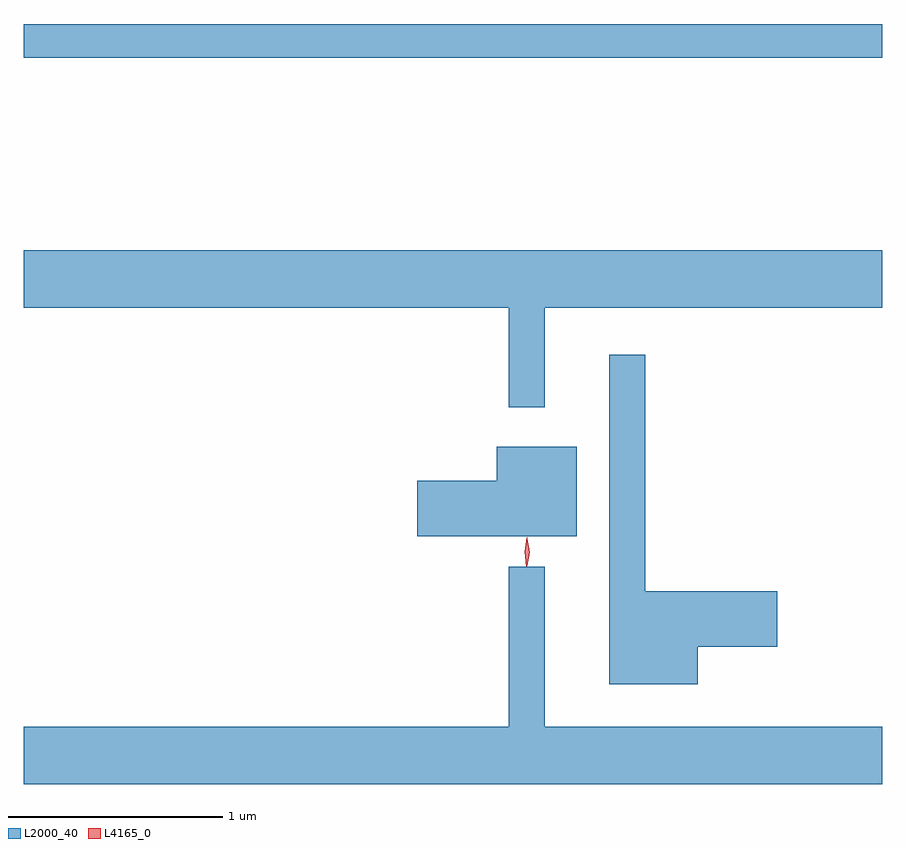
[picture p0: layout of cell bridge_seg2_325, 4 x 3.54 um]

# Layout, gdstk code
import gdstk
lib = gdstk.Library(unit=1e-6, precision=1e-09)
def R(c, l, rs):  # rectangles x0, y0, x1, y1
    for r in rs: c.add(gdstk.rectangle(r[:2], r[2:], *l))
def P(c, l, *ps):  # polygons
    for p in ps: c.add(gdstk.Polygon(p, *l))
L2000_40 = (2000, 40)
L4165_0 = (4165, 0)

bridge_seg2_325 = lib.new_cell('bridge_seg2_325')
R(bridge_seg2_325, L2000_40, [(321.502,1002.861,325.502,1003.019)])
P(bridge_seg2_325, L2000_40, [(323.929,1001.696),(325.502,1001.696),(325.502,1001.964),(321.502,1001.964),(321.502,1001.696),(323.761,1001.696),(323.761,1001.233),(323.929,1001.233)],
  [(324.644,1000.116),(325.014,1000.116),(325.014,1000.374),(324.399,1000.374),(324.399,1001.478),(324.231,1001.478),(324.231,999.941),(324.644,999.941)],
  [(324.079,1001.049),(323.706,1001.049),(323.706,1000.889),(323.336,1000.889),(323.336,1000.631),(324.079,1000.631)],
  [(325.502,999.744),(323.929,999.744),(323.929,1000.488),(323.761,1000.488),(323.761,999.744),(321.502,999.744),(321.502,999.476),(325.502,999.476)])
P(bridge_seg2_325, L4165_0, [(323.848,1000.493),(323.839,1000.556),(323.848,1000.619),(323.849,1000.62),(323.849,1000.619),(323.859,1000.556),(323.849,1000.493),(323.849,1000.493)],
  [(323.844,1000.49),(323.836,1000.558),(323.846,1000.625),(323.847,1000.626),(323.847,1000.625),(323.856,1000.558),(323.846,1000.49),(323.845,1000.49)])

lib.write_gds('bridge_seg2_325.gds')
